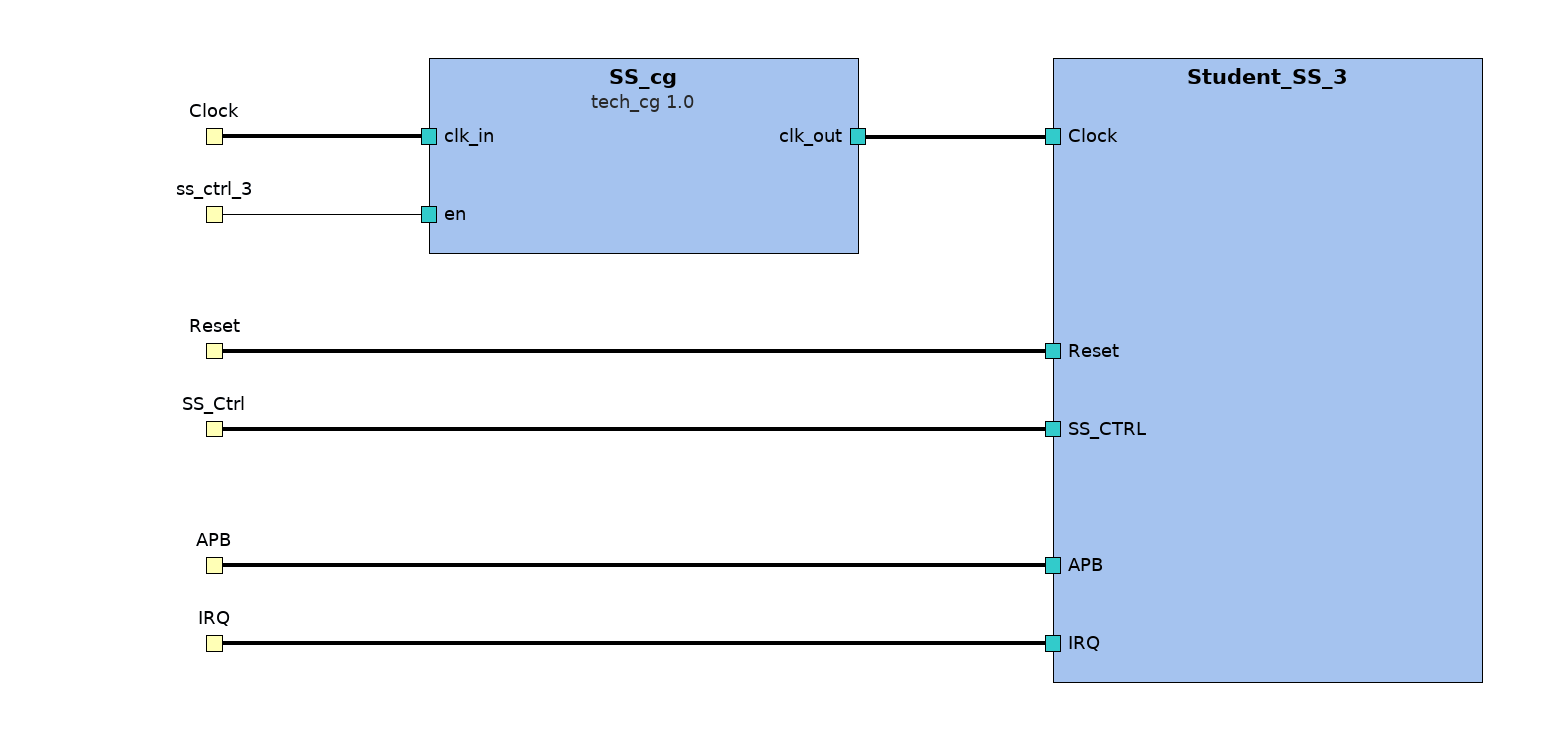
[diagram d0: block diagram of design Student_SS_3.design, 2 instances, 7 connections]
<?xml version="1.0" encoding="UTF-8"?>
<ipxact:design xmlns:xsi="http://www.w3.org/2001/XMLSchema-instance" xmlns:ipxact="http://www.accellera.org/XMLSchema/IPXACT/1685-2022" xmlns:kactus2="http://kactus2.cs.tut.fi" xsi:schemaLocation="http://www.accellera.org/XMLSchema/IPXACT/1685-2022 http://www.accellera.org/XMLSchema/IPXACT/1685-2022/index.xsd"><ipxact:vendor>tuni.fi</ipxact:vendor><ipxact:library>subsystem</ipxact:library><ipxact:name>Student_SS_3.design</ipxact:name>
 <ipxact:version>1.0</ipxact:version>
 <ipxact:componentInstances><ipxact:componentInstance><ipxact:instanceName>SS_cg</ipxact:instanceName><ipxact:componentRef vendor="tuni.fi" library="tech" name="tech_cg" version="1.0"/></ipxact:componentInstance><ipxact:componentInstance><ipxact:instanceName>Student_SS_3</ipxact:instanceName><ipxact:componentRef vendor="" library="" name="" version=""/></ipxact:componentInstance></ipxact:componentInstances>
 <ipxact:interconnections>
  <ipxact:interconnection><ipxact:name>SS_cg_clk_in_to_Clock</ipxact:name><ipxact:activeInterface componentInstanceRef="SS_cg" busRef="clk_in"/><ipxact:hierInterface busRef="Clock"/></ipxact:interconnection>
  <ipxact:interconnection><ipxact:name>Student_SS_3_IRQ_to_IRQ</ipxact:name><ipxact:activeInterface componentInstanceRef="Student_SS_3" busRef="IRQ"/><ipxact:hierInterface busRef="IRQ"/></ipxact:interconnection>
  <ipxact:interconnection><ipxact:name>Student_SS_3_APB_to_APB</ipxact:name><ipxact:activeInterface componentInstanceRef="Student_SS_3" busRef="APB"/><ipxact:hierInterface busRef="APB"/></ipxact:interconnection>
  <ipxact:interconnection><ipxact:name>Student_SS_3_SS_CTRL_to_SS_Ctrl</ipxact:name><ipxact:activeInterface componentInstanceRef="Student_SS_3" busRef="SS_CTRL"/><ipxact:hierInterface busRef="SS_Ctrl"/></ipxact:interconnection>
  <ipxact:interconnection><ipxact:name>Student_SS_3_Reset_to_Reset</ipxact:name><ipxact:activeInterface componentInstanceRef="Student_SS_3" busRef="Reset"/><ipxact:hierInterface busRef="Reset"/></ipxact:interconnection>
  <ipxact:interconnection><ipxact:name>SS_cg_clk_out_to_Student_SS_3_Clock</ipxact:name><ipxact:activeInterface componentInstanceRef="SS_cg" busRef="clk_out"/><ipxact:activeInterface componentInstanceRef="Student_SS_3" busRef="Clock"/></ipxact:interconnection>
 </ipxact:interconnections>
 <ipxact:adHocConnections><ipxact:adHocConnection><ipxact:name>SS_cg_en_to_ss_ctrl_3</ipxact:name><ipxact:portReferences><ipxact:internalPortReference componentInstanceRef="SS_cg" portRef="en"/><ipxact:externalPortReference portRef="ss_ctrl_3"/></ipxact:portReferences></ipxact:adHocConnection></ipxact:adHocConnections>
</ipxact:design>

